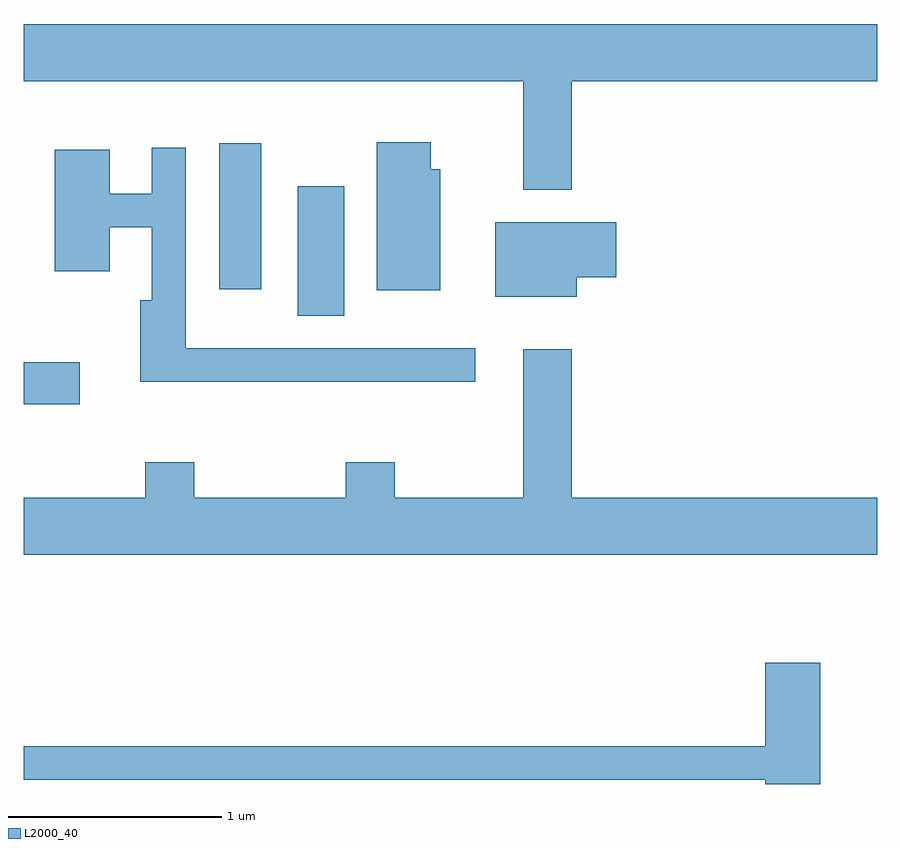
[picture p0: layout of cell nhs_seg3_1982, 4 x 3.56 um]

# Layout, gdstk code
import gdstk
lib = gdstk.Library(unit=1e-6, precision=1e-09)
def R(c, l, rs):  # rectangles x0, y0, x1, y1
    for r in rs: c.add(gdstk.rectangle(r[:2], r[2:], *l))
def P(c, l, *ps):  # polygons
    for p in ps: c.add(gdstk.Polygon(p, *l))
L2000_40 = (2000, 40)

nhs_seg3_1982 = lib.new_cell('nhs_seg3_1982')
R(nhs_seg3_1982, L2000_40, [(243.611,1137.821,243.874,1138.019), (244.896,1138.236,245.114,1138.844), (244.526,1138.361,244.724,1139.044)])
P(nhs_seg3_1982, L2000_40, [(246.179,1139.336),(247.611,1139.336),(247.611,1139.604),(243.611,1139.604),(243.611,1139.336),(245.951,1139.336),(245.951,1138.826),(246.179,1138.826)],
  [(245.564,1138.924),(245.519,1138.924),(245.519,1139.049),(245.266,1139.049),(245.266,1138.356),(245.564,1138.356)],
  [(245.728,1138.084),(244.369,1138.084),(244.369,1139.023),(244.211,1139.023),(244.211,1138.809),(244.014,1138.809),(244.014,1139.014),(243.756,1139.014),(243.756,1138.446),(244.014,1138.446),(244.014,1138.651),(244.211,1138.651),(244.211,1138.309),(244.156,1138.309),(244.156,1137.926),(245.728,1137.926)],
  [(246.204,1138.416),(246.389,1138.416),(246.389,1138.674),(245.821,1138.674),(245.821,1138.326),(246.204,1138.326)],
  [(244.181,1137.549),(244.181,1137.384),(243.611,1137.384),(243.611,1137.116),(247.611,1137.116),(247.611,1137.384),(246.179,1137.384),(246.179,1138.079),(245.951,1138.079),(245.951,1137.384),(245.349,1137.384),(245.349,1137.549),(245.121,1137.549),(245.121,1137.384),(244.409,1137.384),(244.409,1137.549)],
  [(247.344,1136.609),(247.086,1136.609),(247.086,1136.219),(243.611,1136.219),(243.611,1136.061),(247.086,1136.061),(247.086,1136.041),(247.344,1136.041)])

lib.write_gds('nhs_seg3_1982.gds')
